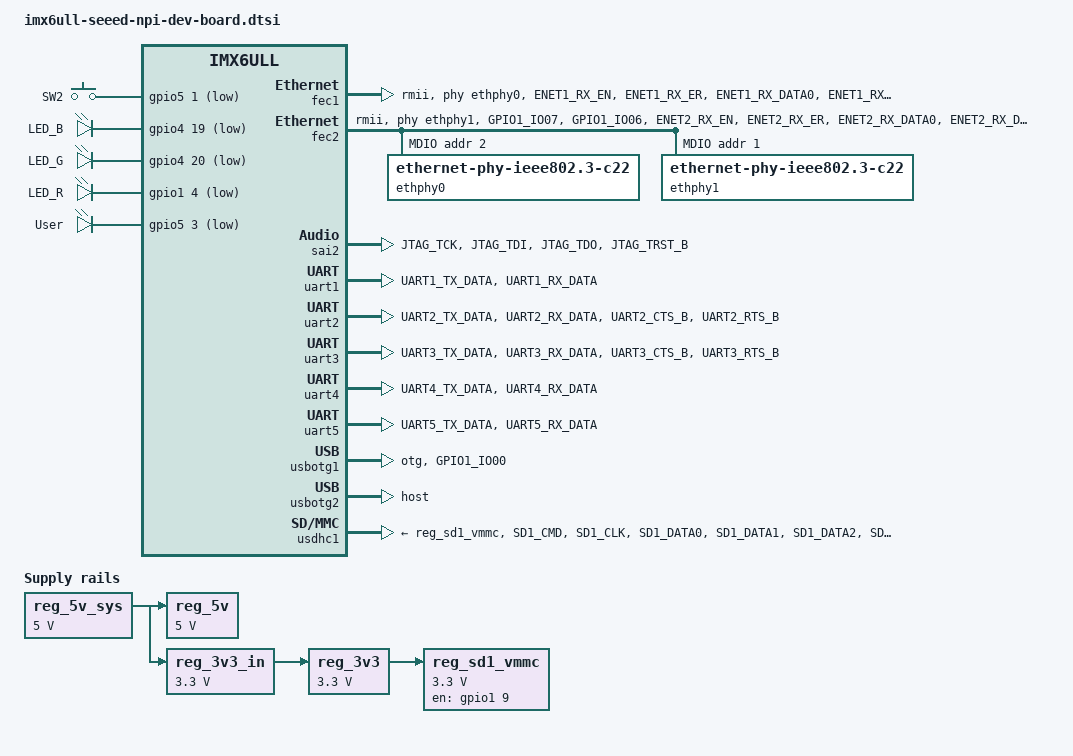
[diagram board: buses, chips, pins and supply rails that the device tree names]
// SPDX-License-Identifier: GPL-2.0
/*
 * Copyright (c) 2024 Linumiz
 * Author: Parthiban <parthiban@linumiz.com>
 */

#include <dt-bindings/gpio/gpio.h>

/ {
	chosen {
		stdout-path = &uart1;
	};

	gpio_buttons: gpio-keys {
		compatible = "gpio-keys";
		pinctrl-names = "default";
		pinctrl-0 = <&pinctrl_button>;

		button-0 {
			gpios = <&gpio5 1 GPIO_ACTIVE_LOW>;
			label = "SW2";
			linux,code = <KEY_A>;
			wakeup-source;
		};
	};

	gpio-leds {
		compatible = "gpio-leds";
		pinctrl-names = "default";
		pinctrl-0 = <&pinctrl_gpio_leds>;

		led-blue {
			gpios = <&gpio4 19 GPIO_ACTIVE_LOW>;
			label = "LED_B";
			linux,default-trigger = "heartbeat";
			default-state = "on";
		};

		led-green {
			gpios = <&gpio4 20 GPIO_ACTIVE_LOW>;
			label = "LED_G";
			linux,default-trigger = "heartbeat";
			default-state = "on";
		};

		led-red {
			gpios = <&gpio1 4 GPIO_ACTIVE_LOW>;
			label = "LED_R";
			linux,default-trigger = "heartbeat";
			default-state = "on";
		};

		led-user {
			gpios = <&gpio5 3 GPIO_ACTIVE_LOW>;
			label = "User";
			linux,default-trigger = "heartbeat";
			default-state = "on";
		};
	};

	reg_5v_sys: regulator-5v-sys {
		compatible = "regulator-fixed";
		regulator-name = "5V_SYS";
		regulator-min-microvolt = <5000000>;
		regulator-max-microvolt = <5000000>;
		regulator-always-on;
	};

	reg_5v: regulator-5v {
		compatible = "regulator-fixed";
		regulator-name = "5V";
		regulator-min-microvolt = <5000000>;
		regulator-max-microvolt = <5000000>;
		regulator-always-on;
		vin-supply = <&reg_5v_sys>;
	};

	reg_3v3_in: regulator-3v3-in {
		compatible = "regulator-fixed";
		regulator-name = "3V3_IN";
		regulator-min-microvolt = <3300000>;
		regulator-max-microvolt = <3300000>;
		regulator-always-on;
		vin-supply = <&reg_5v_sys>;
	};

	reg_3v3: regulator-3v3 {
		compatible = "regulator-fixed";
		regulator-name = "3V3";
		regulator-min-microvolt = <3300000>;
		regulator-max-microvolt = <3300000>;
		regulator-always-on;
		vin-supply = <&reg_3v3_in>;
	};

	reg_sd1_vmmc: regulator-sd1-vmmc {
		compatible = "regulator-fixed";
		regulator-name = "3V3_SD";
		regulator-min-microvolt = <3300000>;
		regulator-max-microvolt = <3300000>;
		gpios = <&gpio1 9 GPIO_ACTIVE_HIGH>;
		pinctrl-names = "default";
		pinctrl-0 = <&pinctrl_reg_vmmc>;
		enable-active-high;
		regulator-always-on;
		vin-supply = <&reg_3v3>;
	};
};

&csi {
	pinctrl-names = "default";
	pinctrl-0 = <&pinctrl_csi1>;
	status = "disabled"; /* LED Blue & Green shared */
};

&fec1 {
	pinctrl-names = "default";
	pinctrl-0 = <&pinctrl_enet1>;
	phy-mode = "rmii";
	phy-handle = <&ethphy0>;
	status = "okay";
};

&fec2 {
	pinctrl-names = "default";
	pinctrl-0 = <&pinctrl_enet2>;
	phy-mode = "rmii";
	phy-handle = <&ethphy1>;
	status = "okay";

	mdio {
		#address-cells = <1>;
		#size-cells = <0>;

		ethphy0: ethernet-phy@2 {
			compatible = "ethernet-phy-ieee802.3-c22";
			reg = <2>;
			micrel,led-mode = <1>;
			clocks = <&clks IMX6UL_CLK_ENET_REF>;
			clock-names = "rmii-ref";
		};

		ethphy1: ethernet-phy@1 {
			compatible = "ethernet-phy-ieee802.3-c22";
			reg = <1>;
			micrel,led-mode = <1>;
			clocks = <&clks IMX6UL_CLK_ENET2_REF>;
			clock-names = "rmii-ref";
		};
	};
};

&lcdif {
	pinctrl-0 = <&pinctrl_lcdif>;
	pinctrl-names = "default";
	status = "disabled";
};

&reg_dcdc_3v3 {
	vin-supply = <&reg_3v3_in>;
};

&sai2 {
	assigned-clock-rates = <320000000>;
	assigned-clocks = <&clks IMX6UL_CLK_PLL3_PFD2>;
	pinctrl-0 = <&pinctrl_sai2>;
	pinctrl-names = "default";
	status = "okay";
};

&snvs_poweroff {
	status = "okay";
};

&uart1 {
	pinctrl-0 = <&pinctrl_uart1>;
	status = "okay";
};

&uart2 {
	pinctrl-0 = <&pinctrl_uart2>;
	uart-has-rtscts;
	status = "okay";
};

&uart3 {
	pinctrl-0 = <&pinctrl_uart3>;
	uart-has-rtscts;
	status = "okay";
};

&uart4 {
	pinctrl-0 = <&pinctrl_uart4>;
	status = "okay";
};

&uart5 {
	pinctrl-0 = <&pinctrl_uart5>;
	status = "okay";
};

&usbotg1 {
	pinctrl-names = "default";
	pinctrl-0 = <&pinctrl_usb_otg1_id>;
	dr_mode = "otg";
	srp-disable;
	hnp-disable;
	adp-disable;
	status = "okay";
};

&usbotg2 {
	dr_mode = "host";
	disable-over-current;
	status = "okay";
};

&usdhc1 {
	pinctrl-names = "default", "state_100mhz", "state_200mhz";
	pinctrl-0 = <&pinctrl_usdhc1 &pinctrl_usdhc1_cd>;
	pinctrl-1 = <&pinctrl_usdhc1_100mhz &pinctrl_usdhc1_cd>;
	pinctrl-2 = <&pinctrl_usdhc1_200mhz &pinctrl_usdhc1_cd>;
	cd-gpios = <&gpio1 19 GPIO_ACTIVE_LOW>;
	no-1-8-v;
	keep-power-in-suspend;
	wakeup-source;
	vmmc-supply = <&reg_sd1_vmmc>;
	status = "okay";
};

&iomuxc {
	pinctrl_button: buttongrp {
		fsl,pins = <
			MX6ULL_PAD_SNVS_TAMPER1__GPIO5_IO01	0x0b0b0
		>;
	};

	pinctrl_csi1: csi1grp {
		fsl,pins = <
			MX6UL_PAD_CSI_PIXCLK__CSI_PIXCLK	0x1b088
			MX6UL_PAD_CSI_VSYNC__CSI_VSYNC		0x1b088
			MX6UL_PAD_CSI_HSYNC__CSI_HSYNC		0x1b088
			MX6UL_PAD_CSI_DATA00__CSI_DATA02	0x1b088
			MX6UL_PAD_CSI_DATA01__CSI_DATA03	0x1b088
			MX6UL_PAD_CSI_DATA02__CSI_DATA04	0x1b088
			MX6UL_PAD_CSI_DATA03__CSI_DATA05	0x1b088
			MX6UL_PAD_CSI_DATA04__CSI_DATA06	0x1b088
			MX6UL_PAD_CSI_DATA05__CSI_DATA07	0x1b088
			MX6UL_PAD_CSI_DATA06__CSI_DATA08	0x1b088
			MX6UL_PAD_CSI_DATA07__CSI_DATA09	0x1b088
		>;
	};

	pinctrl_enet1: enet1grp {
		fsl,pins = <
			MX6UL_PAD_ENET1_RX_EN__ENET1_RX_EN      0x1b0b0
			MX6UL_PAD_ENET1_RX_ER__ENET1_RX_ER      0x1b0b0
			MX6UL_PAD_ENET1_RX_DATA0__ENET1_RDATA00 0x1b0b0
			MX6UL_PAD_ENET1_RX_DATA1__ENET1_RDATA01 0x1b0b0
			MX6UL_PAD_ENET1_TX_EN__ENET1_TX_EN      0x1b0b0
			MX6UL_PAD_ENET1_TX_DATA0__ENET1_TDATA00 0x1b0b0
			MX6UL_PAD_ENET1_TX_DATA1__ENET1_TDATA01 0x1b0b0
			MX6UL_PAD_ENET1_TX_CLK__ENET1_REF_CLK1  0x4001b031
		>;
	};

	pinctrl_enet2: enet2grp {
		fsl,pins = <
			MX6UL_PAD_GPIO1_IO07__ENET2_MDC         0x1b0b0
			MX6UL_PAD_GPIO1_IO06__ENET2_MDIO        0x1b0b0
			MX6UL_PAD_ENET2_RX_EN__ENET2_RX_EN      0x1b0b0
			MX6UL_PAD_ENET2_RX_ER__ENET2_RX_ER      0x1b0b0
			MX6UL_PAD_ENET2_RX_DATA0__ENET2_RDATA00 0x1b0b0
			MX6UL_PAD_ENET2_RX_DATA1__ENET2_RDATA01 0x1b0b0
			MX6UL_PAD_ENET2_TX_EN__ENET2_TX_EN      0x1b0b0
			MX6UL_PAD_ENET2_TX_DATA0__ENET2_TDATA00 0x1b0b0
			MX6UL_PAD_ENET2_TX_DATA1__ENET2_TDATA01 0x1b0b0
			MX6UL_PAD_ENET2_TX_CLK__ENET2_REF_CLK2  0x4001b031
		>;
	};

	pinctrl_gpio_leds: ledgrp {
		fsl,pins = <
			MX6UL_PAD_GPIO1_IO04__GPIO1_IO04	0x0b0b0
			MX6UL_PAD_CSI_VSYNC__GPIO4_IO19		0x0b0b0
			MX6UL_PAD_CSI_HSYNC__GPIO4_IO20		0x0b0b0
			MX6UL_PAD_SNVS_TAMPER3__GPIO5_IO03	0x0b0b0
		>;
	};

	pinctrl_lcdif: lcdif-grp {
		fsl,pins = <
			MX6UL_PAD_LCD_CLK__LCDIF_CLK		0x79
			MX6UL_PAD_LCD_ENABLE__LCDIF_ENABLE	0x79
			MX6UL_PAD_LCD_HSYNC__LCDIF_HSYNC	0x79
			MX6UL_PAD_LCD_VSYNC__LCDIF_VSYNC	0x79
			MX6UL_PAD_LCD_RESET__LCDIF_RESET	0x79
			MX6UL_PAD_LCD_DATA00__LCDIF_DATA00	0x79
			MX6UL_PAD_LCD_DATA01__LCDIF_DATA01	0x79
			MX6UL_PAD_LCD_DATA02__LCDIF_DATA02	0x79
			MX6UL_PAD_LCD_DATA03__LCDIF_DATA03	0x79
			MX6UL_PAD_LCD_DATA04__LCDIF_DATA04	0x79
			MX6UL_PAD_LCD_DATA05__LCDIF_DATA05	0x79
			MX6UL_PAD_LCD_DATA06__LCDIF_DATA06	0x79
			MX6UL_PAD_LCD_DATA07__LCDIF_DATA07	0x79
			MX6UL_PAD_LCD_DATA08__LCDIF_DATA08	0x79
			MX6UL_PAD_LCD_DATA09__LCDIF_DATA09	0x79
			MX6UL_PAD_LCD_DATA10__LCDIF_DATA10	0x79
			MX6UL_PAD_LCD_DATA11__LCDIF_DATA11	0x79
			MX6UL_PAD_LCD_DATA12__LCDIF_DATA12	0x79
			MX6UL_PAD_LCD_DATA13__LCDIF_DATA13	0x79
			MX6UL_PAD_LCD_DATA14__LCDIF_DATA14	0x79
			MX6UL_PAD_LCD_DATA15__LCDIF_DATA15	0x79
			MX6UL_PAD_LCD_DATA16__LCDIF_DATA16	0x79
			MX6UL_PAD_LCD_DATA17__LCDIF_DATA17	0x79
			MX6UL_PAD_LCD_DATA18__LCDIF_DATA18	0x79
			MX6UL_PAD_LCD_DATA19__LCDIF_DATA19	0x79
			MX6UL_PAD_LCD_DATA20__LCDIF_DATA20	0x79
			MX6UL_PAD_LCD_DATA21__LCDIF_DATA21	0x79
			MX6UL_PAD_LCD_DATA22__LCDIF_DATA22	0x79
			MX6UL_PAD_LCD_DATA23__LCDIF_DATA23	0x79
			MX6UL_PAD_GPIO1_IO08__GPIO1_IO08	0x79
		>;
	};

	pinctrl_reg_vmmc: usdhc1regvmmc {
		fsl,pins = <
			MX6UL_PAD_GPIO1_IO09__GPIO1_IO09	0x17059
		>;
	};

	pinctrl_sai2: sai2-grp {
		fsl,pins = <
			MX6UL_PAD_JTAG_TCK__SAI2_RX_DATA	0x130b0
			MX6UL_PAD_JTAG_TDI__SAI2_TX_BCLK	0x17088
			MX6UL_PAD_JTAG_TDO__SAI2_TX_SYNC	0x17088
			MX6UL_PAD_JTAG_TRST_B__SAI2_TX_DATA	0x120b0
		>;
	};

	pinctrl_uart1: uart1grp {
		fsl,pins = <
			MX6UL_PAD_UART1_TX_DATA__UART1_DCE_TX	0x1b0b1
			MX6UL_PAD_UART1_RX_DATA__UART1_DCE_RX	0x1b0b1
		>;
	};

	pinctrl_uart2: uart2grp {
		fsl,pins = <
			MX6UL_PAD_UART2_TX_DATA__UART2_DCE_TX	0x1b0b1
			MX6UL_PAD_UART2_RX_DATA__UART2_DCE_RX	0x1b0b1
			MX6UL_PAD_UART2_CTS_B__UART2_DCE_CTS	0x1b0b1
			MX6UL_PAD_UART2_RTS_B__UART2_DCE_RTS	0x1b0b1
		>;
	};

	pinctrl_uart3: uart3grp {
		fsl,pins = <
			MX6UL_PAD_UART3_TX_DATA__UART3_DCE_TX	0x1b0b1
			MX6UL_PAD_UART3_RX_DATA__UART3_DCE_RX	0x1b0b1
			MX6UL_PAD_UART3_CTS_B__UART3_DCE_CTS	0x1b0b1
			MX6UL_PAD_UART3_RTS_B__UART3_DCE_RTS	0x1b0b1
		>;
	};

	pinctrl_uart4: uart4grp {
		fsl,pins = <
			MX6UL_PAD_UART4_TX_DATA__UART4_DCE_TX	0x1b0b1
			MX6UL_PAD_UART4_RX_DATA__UART4_DCE_RX	0x1b0b1
		>;
	};

	pinctrl_uart5: uart5grp {
		fsl,pins = <
			MX6UL_PAD_UART5_TX_DATA__UART5_DCE_TX	0x1b0b1
			MX6UL_PAD_UART5_RX_DATA__UART5_DCE_RX	0x1b0b1
		>;
	};

	pinctrl_usb_otg1_id: usbotg1idgrp {
		fsl,pins = <
			MX6UL_PAD_GPIO1_IO00__ANATOP_OTG1_ID	0x17059
		>;
	};

	pinctrl_usdhc1: usdhc1grp {
		fsl,pins = <
			MX6UL_PAD_SD1_CMD__USDHC1_CMD		0x17059
			MX6UL_PAD_SD1_CLK__USDHC1_CLK		0x10059
			MX6UL_PAD_SD1_DATA0__USDHC1_DATA0	0x17059
			MX6UL_PAD_SD1_DATA1__USDHC1_DATA1	0x17059
			MX6UL_PAD_SD1_DATA2__USDHC1_DATA2	0x17059
			MX6UL_PAD_SD1_DATA3__USDHC1_DATA3	0x17059
		>;
	};

	pinctrl_usdhc1_100mhz: usdhc1grp100mhz {
		fsl,pins = <
			MX6UL_PAD_SD1_CMD__USDHC1_CMD		0x170b9
			MX6UL_PAD_SD1_CLK__USDHC1_CLK		0x100b9
			MX6UL_PAD_SD1_DATA0__USDHC1_DATA0	0x170b9
			MX6UL_PAD_SD1_DATA1__USDHC1_DATA1	0x170b9
			MX6UL_PAD_SD1_DATA2__USDHC1_DATA2	0x170b9
			MX6UL_PAD_SD1_DATA3__USDHC1_DATA3	0x170b9
		>;
	};

	pinctrl_usdhc1_200mhz: usdhc1grp200mhz {
		fsl,pins = <
			MX6UL_PAD_SD1_CMD__USDHC1_CMD		0x170f9
			MX6UL_PAD_SD1_CLK__USDHC1_CLK		0x100f9
			MX6UL_PAD_SD1_DATA0__USDHC1_DATA0	0x170f9
			MX6UL_PAD_SD1_DATA1__USDHC1_DATA1	0x170f9
			MX6UL_PAD_SD1_DATA2__USDHC1_DATA2	0x170f9
			MX6UL_PAD_SD1_DATA3__USDHC1_DATA3	0x170f9
		>;
	};

	pinctrl_usdhc1_cd: usdhc1cd {
		fsl,pins = <
			MX6UL_PAD_UART1_RTS_B__GPIO1_IO19	0x17059
		>;
	};
};
